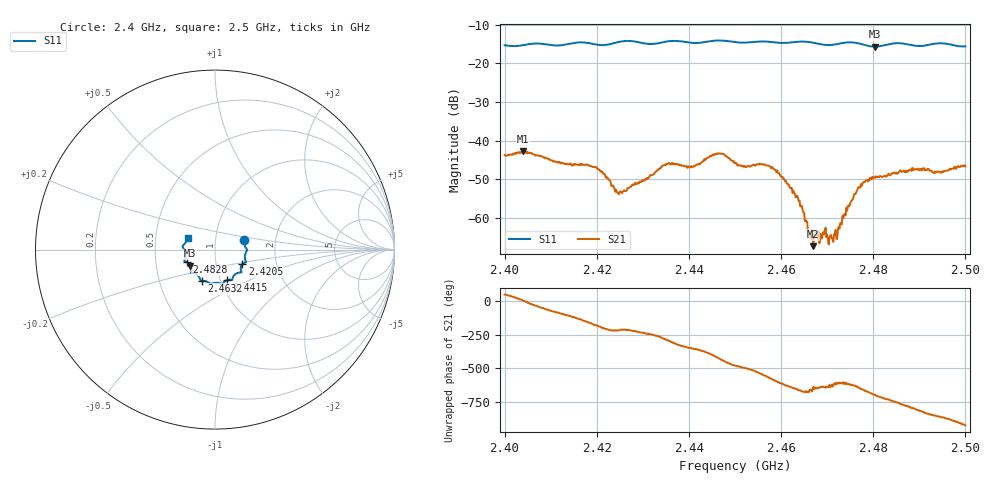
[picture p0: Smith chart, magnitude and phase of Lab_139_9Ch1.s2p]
# Hz S RI R 50
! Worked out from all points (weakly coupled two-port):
!   601 points, 2.4 GHz to 2.5 GHz, reference 50 ohm
!   highest |S21| = -42.75 dB at 2.404 GHz (marker M1); lowest = -67.2 dB at 2.467 GHz (marker M2)
!   lowest |S11| = -15.7 dB at 2.4803 GHz (marker M3), VSWR 1.39, Z = 37.4 - j6.86 ohm
!   |S11| at or under -10 dB: start of sweep to end of sweep
!   S12 and S22 are empty: the file has one direction only
!   S11 on the Smith chart (normalised r, x): 2.4 GHz: 1.38, +0.15; 2.4205 GHz: 1.34, -0.23; 2.4415 GHz: 1.07, -0.38; 2.4632 GHz: 0.82, -0.29; 2.4828 GHz: 0.72, -0.10; 2.5 GHz: 0.73, +0.10
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2.4e9  0.1633 0.0518  0.00438 0.00484  0 0  0 0
2.404e9  0.1713 0.0103  0.00728 0.000362  0 0  0 0
2.416667e9  0.1729 -0.0698  -0.0037 -0.00318  0 0  0 0
2.4205e9  0.1521 -0.0816  -0.0042 0.000741  0 0  0 0
2.425e9  0.1461 -0.1217  -0.0018 0.00125  0 0  0 0
2.433333e9  0.1005 -0.1516  -0.000524 0.00422  0 0  0 0
2.435833e9  0.0971 -0.1675  0.0024 0.00446  0 0  0 0
2.4415e9  0.0656 -0.1706  0.00484 0.000242  0 0  0 0
2.446333e9  0.0408 -0.1931  0.00311 -0.00614  0 0  0 0
2.45e9  0.0242 -0.1864  -0.00264 -0.0045  0 0  0 0
2.457667e9  -0.0298 -0.1869  -0.0038 0.00263  0 0  0 0
2.463167e9  -0.0733 -0.174  0.000693 0.00172  0 0  0 0
2.466667e9  -0.0823 -0.167  0.000483 0.000513  0 0  0 0
2.467e9  -0.0828 -0.1648  6.5e-05 0.000429  0 0  0 0
2.4695e9  -0.0948 -0.1447  0.000149 0.000663  0 0  0 0
2.470833e9  -0.1071 -0.1357  9.48e-06 0.000605  0 0  0 0
2.471667e9  -0.1152 -0.132  -9.32e-05 0.000596  0 0  0 0
2.476333e9  -0.1329 -0.1265  0.000231 0.00217  0 0  0 0
2.480333e9  -0.1377 -0.0894  0.00302 0.00135  0 0  0 0
2.482833e9  -0.1587 -0.0701  0.00339 -0.000537  0 0  0 0
2.483333e9  -0.1625 -0.0682  0.00368 -0.000841  0 0  0 0
2.5e9  -0.1528 0.0641  -0.00421 0.00199  0 0  0 0
